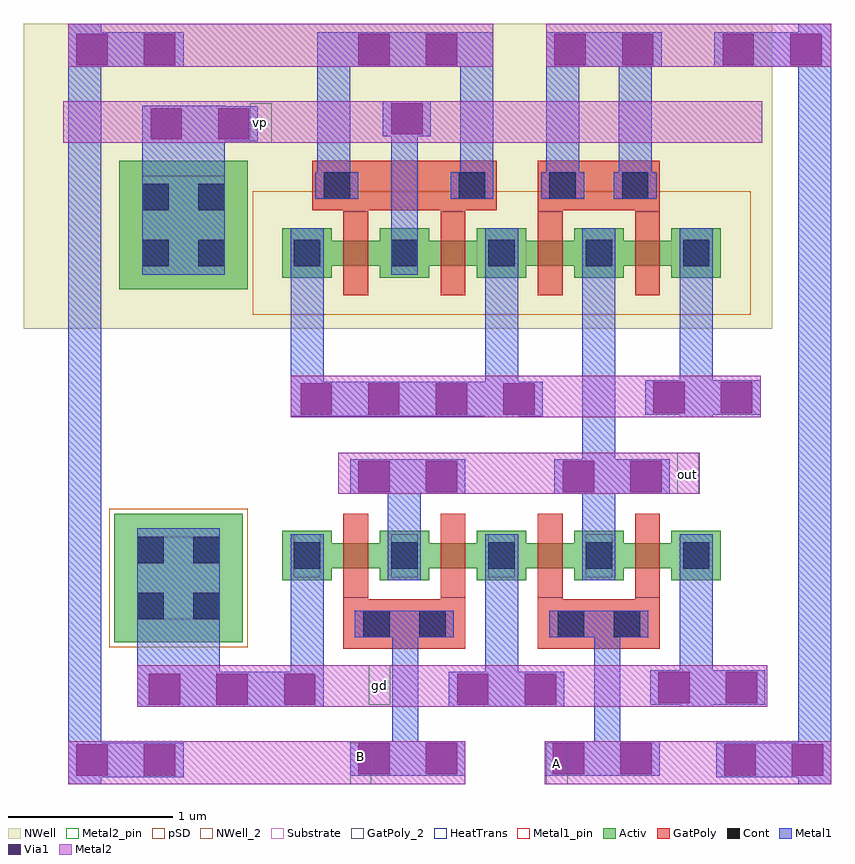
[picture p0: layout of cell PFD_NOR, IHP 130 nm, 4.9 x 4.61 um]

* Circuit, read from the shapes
.subckt PFD_NOR A B gd out vp
XM1 out B gd gd sg13_lv_nmos w=0.15u l=0.15u m=2
XM2 out A gd gd sg13_lv_nmos w=0.15u l=0.15u m=2
XM3 vp B n1 vp sg13_lv_pmos w=0.15u l=0.15u m=2
XM4 out A n1 vp sg13_lv_pmos w=0.15u l=0.15u m=2
.ends

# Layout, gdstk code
import gdstk
lib = gdstk.Library(unit=1e-6, precision=1e-09)
def R(c, l, rs):  # rectangles x0, y0, x1, y1
    for r in rs: c.add(gdstk.rectangle(r[:2], r[2:], *l))
def A(c, l, x, y, w, h, nx, ny, dx, dy):  # array of equal rectangles
    R(c, l, [(x+i*dx, y+j*dy, x+i*dx+w, y+j*dy+h) for i in range(nx) for j in range(ny)])
Activ = (1, 0)
GatPoly = (5, 0)
GatPoly_2 = (5, 2)
Cont = (6, 0)
Metal1 = (8, 0)
Metal1_pin = (8, 2)
Metal2 = (10, 0)
Metal2_pin = (10, 2)
pSD = (14, 0)
Via1 = (19, 0)
NWell = (31, 0)
NWell_2 = (31, 2)
Substrate = (40, 0)
HeatTrans = (51, 0)

pmos = lib.new_cell('pmos')
A(pmos, Activ, 0, 0, 0.3, 0.3, 3, 1, 0.59, 0)
R(pmos, Activ, [(0,0.075,1.48,0.225)])
R(pmos, GatPoly, [(0.37,-0.105,0.52,0.405), (0.37,-0.105,0.52,0.405), (0.96,-0.105,1.11,0.405)])
A(pmos, Cont, 0.07, 0.07, 0.16, 0.16, 3, 1, 0.59, 0)
R(pmos, Metal1, [(0.07,0.02,0.23,0.28), (0.07,0.02,0.23,0.28), (0.66,0.02,0.82,0.28), (0.66,0.02,0.82,0.28), (1.25,0.02,1.41,0.28)])
R(pmos, pSD, [(-0.18,-0.225,1.66,0.525)])
R(pmos, NWell, [(-0.31,-0.31,1.79,0.61)])
R(pmos, Substrate, [(1.18,0,1.48,0.3)])
R(pmos, HeatTrans, [(0.37,-0.105,0.52,0.405), (0.96,-0.105,1.11,0.405)])
pmos.add(gdstk.Label('pmos', (0.445,0.15), layer=63, texttype=0))
pmos.add(gdstk.Label('pmos', (0.445,0.15), layer=51, texttype=0))
pmos.add(gdstk.Label('pmos', (1.035,0.15), layer=51, texttype=0))

nmos = lib.new_cell('nmos')
A(nmos, Activ, 0, 0, 0.3, 0.3, 3, 1, 0.59, 0)
R(nmos, Activ, [(0,0.075,1.48,0.225)])
R(nmos, GatPoly, [(0.37,-0.105,0.52,0.405), (0.96,-0.105,1.11,0.405)])
R(nmos, GatPoly_2, [(0.37,-0.105,0.52,0.405)])
A(nmos, Cont, 0.07, 0.07, 0.16, 0.16, 3, 1, 0.59, 0)
A(nmos, Metal1, 0.07, 0.02, 0.16, 0.26, 3, 1, 0.59, 0)
R(nmos, Metal1_pin, [(0.07,0.02,0.23,0.28), (0.66,0.02,0.82,0.28)])
R(nmos, HeatTrans, [(0.37,-0.105,0.52,0.405), (0.96,-0.105,1.11,0.405)])
nmos.add(gdstk.Label('nmos', (0.445,0.15), layer=63, texttype=0))
nmos.add(gdstk.Label('nmos', (0.445,0.15), layer=51, texttype=0))
nmos.add(gdstk.Label('nmos', (1.035,0.15), layer=51, texttype=0))

via = lib.new_cell('Via')
R(via, Metal1, [(-0.35,-0.105,0.35,0.105)])
R(via, Metal2, [(-0.35,-0.1,0.35,0.1)])
R(via, Via1, [(-0.3,-0.095,-0.11,0.095), (0.11,-0.095,0.3,0.095)])

via_5 = lib.new_cell('Via$5')
R(via_5, Metal1, [(-0.76,-0.105,0.76,0.105)])
R(via_5, Metal2, [(-0.76,-0.1,0.76,0.1)])
A(via_5, Via1, -0.71, -0.095, 0.19, 0.19, 4, 1, 0.41, 0)

via_6 = lib.new_cell('Via$6')
R(via_6, Metal1, [(-0.555,-0.105,0.555,0.105)])
R(via_6, Metal2, [(-0.555,-0.1,0.555,0.1)])
A(via_6, Via1, -0.505, -0.095, 0.19, 0.19, 3, 1, 0.41, 0)

via_2 = lib.new_cell('Via$2')
R(via_2, GatPoly, [(-0.15,-0.15,0.15,0.15)])
R(via_2, Cont, [(-0.08,-0.08,0.08,0.08)])
R(via_2, Metal1, [(-0.13,-0.08,0.13,0.08)])

ntap1 = lib.new_cell('ntap1')
R(ntap1, Activ, [(0,0,0.78,0.78)])
R(ntap1, Cont, [(0.14,0.14,0.3,0.3), (0.48,0.14,0.64,0.3), (0.14,0.48,0.3,0.64), (0.48,0.48,0.64,0.64)])
R(ntap1, Metal1, [(0.14,0.09,0.64,0.69)])
R(ntap1, Metal1_pin, [(0.14,0.09,0.64,0.69), (0.14,0.14,0.64,0.64)])
R(ntap1, NWell, [(-0.24,-0.24,1.02,1.02), (0,0,0.78,0.78)])
R(ntap1, NWell_2, [(0,0,0.78,0.78)])
ntap1.add(gdstk.Label('well', (0.39,0.01), layer=63, texttype=0))
ntap1.add(gdstk.Label('well', (0.39,0.01), layer=31, texttype=0))

ptap1 = lib.new_cell('ptap1')
R(ptap1, Activ, [(0,0,0.78,0.78)])
R(ptap1, Cont, [(0.14,0.14,0.3,0.3), (0.48,0.14,0.64,0.3), (0.14,0.48,0.3,0.64), (0.48,0.48,0.64,0.64)])
R(ptap1, Metal1, [(0.14,0.09,0.64,0.69), (0.14,0.14,0.64,0.64)])
R(ptap1, Metal1_pin, [(0.14,0.14,0.64,0.64)])
R(ptap1, pSD, [(-0.03,-0.03,0.81,0.81)])
R(ptap1, Substrate, [(0,0,0.78,0.78)])
ptap1.add(gdstk.Label('sub!', (0.39,0.01), layer=63, texttype=0))
ptap1.add(gdstk.Label('sub!', (0.39,0.01), layer=40, texttype=0))

via_3 = lib.new_cell('Via$3')
R(via_3, GatPoly, [(-0.32,-0.15,0.32,0.15)])
R(via_3, Cont, [(-0.25,-0.08,-0.09,0.08), (0.09,-0.08,0.25,0.08)])
R(via_3, Metal1, [(-0.3,-0.08,0.3,0.08)])

via_4 = lib.new_cell('Via$4')
R(via_4, Metal1, [(-0.145,-0.105,0.145,0.105)])
R(via_4, Metal2, [(-0.145,-0.1,0.145,0.1)])
R(via_4, Via1, [(-0.095,-0.095,0.095,0.095)])

pfd_nor = lib.new_cell('PFD_NOR')
A(pfd_nor, GatPoly, -0.11, -1.02, 0.15, 0.01, 4, 1, 0.59, 0)
R(pfd_nor, GatPoly, [(-0.11,-1.32,0.63,-1.02), (1.07,-1.32,1.81,-1.02), (1.07,1.33,1.22,1.34), (1.66,1.33,1.81,1.34), (-0.11,1.335,0.04,1.34), (0.48,1.335,0.63,1.35), (-0.26,1.34,0.78,1.64), (1.07,1.34,1.81,1.64)])
R(pfd_nor, Metal1, [(-1.36,-1.67,-0.86,-1.42), (-1.36,-1.42,-0.86,-0.995), (0.18,0.95,0.34,1.635), (-1.33,1.55,-0.83,1.975), (0.18,1.635,0.34,1.995), (-0.27,2.235,0.8,2.42)])
R(pfd_nor, Metal2, [(-1.78,-2.14,-1.74,-1.88), (-1.74,-2.14,-0.99,-1.88), (-0.99,-2.14,-0.07,-1.88), (-0.07,-2.14,0.63,-1.885), (1.11,-2.14,1.81,-1.885), (-1.36,-1.67,-0.69,-1.42), (-0.69,-1.67,-0.5,-1.42), (2.31,-1.67,2.43,-1.42), (2.43,-1.67,2.46,-1.42), (-0.09,-1.59,0.12,-1.545), (2.13,0.085,2.36,0.335), (2.36,0.085,2.42,0.335), (-0.69,1.75,-0.5,2), (2.31,1.75,2.43,2), (-1.78,2.21,-1.74,2.47), (-1.74,2.21,-0.99,2.47), (-0.99,2.21,-0.27,2.47), (-0.27,2.21,0.8,2.42), (-0.27,2.21,0.8,2.47), (1.12,2.21,1.82,2.47)])
R(pfd_nor, Metal2_pin, [(-0.07,-2.14,0.06,-1.89), (1.12,-2.14,1.25,-1.89), (0.045,-1.66,0.175,-1.42), (1.915,-0.38,2.045,-0.13), (-0.675,1.75,-0.545,1.99)])
R(pfd_nor, NWell, [(-2.05,0.62,2.49,2.47)])
pfd_nor.add(gdstk.FlexPath([(1.49,-1.09),(1.49,-1.9)], 0.16, ends="flush", simple_path=True, layer=8, datatype=0))  # Metal1
pfd_nor.add(gdstk.FlexPath([(0.265,-1.09),(0.265,-1.89)], 0.16, ends="flush", simple_path=True, layer=8, datatype=0))  # Metal1
pfd_nor.add(gdstk.FlexPath([(1.22,1.41),(1.22,2.235)], 0.2, ends="flush", simple_path=True, layer=8, datatype=0))  # Metal1
pfd_nor.add(gdstk.FlexPath([(0.7,1.42),(0.7,2.245)], 0.2, ends="flush", simple_path=True, layer=8, datatype=0))  # Metal1
pfd_nor.add(gdstk.FlexPath([(-0.17,1.45),(-0.17,2.275)], 0.2, ends="flush", simple_path=True, layer=8, datatype=0))  # Metal1
pfd_nor.add(gdstk.FlexPath([(2.75,-2.14),(2.75,2.47)], 0.2, ends="flush", simple_path=True, layer=8, datatype=0))  # Metal1
pfd_nor.add(gdstk.FlexPath([(-1.68,-2.14),(-1.68,2.47)], 0.2, ends="flush", simple_path=True, layer=8, datatype=0))  # Metal1
pfd_nor.add(gdstk.FlexPath([(-0.33,-0.625),(-0.33,-1.67),(-0.33,-1.67)], 0.2, ends="flush", simple_path=True, layer=8, datatype=0))  # Metal1
pfd_nor.add(gdstk.FlexPath([(0.85,-0.625),(0.85,-1.67)], 0.2, ends="flush", simple_path=True, layer=8, datatype=0))  # Metal1
pfd_nor.add(gdstk.FlexPath([(0.26,-0.905),(0.26,-0.38)], 0.2, ends="flush", simple_path=True, layer=8, datatype=0))  # Metal1
pfd_nor.add(gdstk.FlexPath([(1.44,-0.905),(1.44,-0.38)], 0.2, ends="flush", simple_path=True, layer=8, datatype=0))  # Metal1
pfd_nor.add(gdstk.FlexPath([(-0.33,1.23),(-0.33,0.09),(-0.33,0.09)], 0.2, ends="flush", simple_path=True, layer=8, datatype=0))  # Metal1
pfd_nor.add(gdstk.FlexPath([(0.85,1.23),(0.85,0.085)], 0.2, ends="flush", simple_path=True, layer=8, datatype=0))  # Metal1
pfd_nor.add(gdstk.FlexPath([(2.03,1.23),(2.03,0.085)], 0.2, ends="flush", simple_path=True, layer=8, datatype=0))  # Metal1
pfd_nor.add(gdstk.FlexPath([(1.44,1.23),(1.44,-0.38)], 0.2, ends="flush", simple_path=True, layer=8, datatype=0))  # Metal1
pfd_nor.add(gdstk.FlexPath([(2.03,-0.625),(2.03,-1.67)], 0.2, ends="flush", simple_path=True, layer=8, datatype=0))  # Metal1
pfd_nor.add(gdstk.FlexPath([(1.22,1.41),(1.22,2.235)], 0.2, ends="flush", simple_path=True, layer=8, datatype=0))  # Metal1
pfd_nor.add(gdstk.FlexPath([(1.66,1.41),(1.66,2.235)], 0.2, ends="flush", simple_path=True, layer=8, datatype=0))  # Metal1
pfd_nor.add(gdstk.FlexPath([(-0.17,1.41),(-0.17,2.235)], 0.2, ends="flush", simple_path=True, layer=8, datatype=0))  # Metal1
pfd_nor.add(gdstk.FlexPath([(-0.17,1.41),(-0.17,2.235)], 0.2, ends="flush", simple_path=True, layer=8, datatype=0))  # Metal1
pfd_nor.add(gdstk.FlexPath([(-0.45,1.875),(-1.81,1.875)], 0.25, ends="flush", simple_path=True, layer=10, datatype=0))  # Metal2
pfd_nor.add(gdstk.FlexPath([(1.11,-2.01),(2.76,-2.01)], 0.26, ends="flush", simple_path=True, layer=10, datatype=0))  # Metal2
pfd_nor.add(gdstk.FlexPath([(2.76,-2.01),(2.85,-2.01)], 0.26, ends="flush", simple_path=True, layer=10, datatype=0))  # Metal2
pfd_nor.add(gdstk.FlexPath([(1.12,2.34),(2.85,2.34)], 0.26, ends="flush", simple_path=True, layer=10, datatype=0))  # Metal2
pfd_nor.add(gdstk.FlexPath([(-0.16,-2.01),(0.63,-2.01)], 0.26, ends="flush", simple_path=True, layer=10, datatype=0))  # Metal2
pfd_nor.add(gdstk.FlexPath([(-0.14,0.21),(2.05,0.21)], 0.25, ends="flush", simple_path=True, layer=10, datatype=0))  # Metal2
pfd_nor.add(gdstk.FlexPath([(-0.14,0.21),(-0.43,0.21)], 0.25, ends="flush", simple_path=True, layer=10, datatype=0))  # Metal2
pfd_nor.add(gdstk.FlexPath([(2.05,0.21),(2.13,0.21)], 0.25, ends="flush", simple_path=True, layer=10, datatype=0))  # Metal2
pfd_nor.add(gdstk.FlexPath([(-0.14,-0.255),(2.05,-0.255)], 0.25, ends="flush", simple_path=True, layer=10, datatype=0))  # Metal2
pfd_nor.add(gdstk.FlexPath([(-0.5,-1.545),(2.31,-1.545)], 0.25, ends="flush", simple_path=True, layer=10, datatype=0))  # Metal2
pfd_nor.add(gdstk.FlexPath([(-0.5,1.875),(2.31,1.875)], 0.25, ends="flush", simple_path=True, layer=10, datatype=0))  # Metal2
pfd_nor.add(gdstk.Reference(pmos, (-0.48,0.93)))
pfd_nor.add(gdstk.Reference(pmos, (0.7,0.93)))
pfd_nor.add(gdstk.Reference(nmos, (-0.48,-0.905)))
pfd_nor.add(gdstk.Reference(nmos, (0.7,-0.905)))
pfd_nor.add(gdstk.Reference(via, (1.52,-0.275)))
pfd_nor.add(gdstk.Reference(via, (0.28,-0.275)))
pfd_nor.add(gdstk.Reference(via_5, (0.34,0.195)))
pfd_nor.add(gdstk.Reference(via, (2.07,0.205)))
pfd_nor.add(gdstk.Reference(via, (2.1,-1.555)))
pfd_nor.add(gdstk.Reference(via_6, (-0.785,-1.565)))
pfd_nor.add(gdstk.Reference(via, (0.28,-1.985)))
pfd_nor.add(gdstk.Reference(via_2, (0.67,1.49)))
pfd_nor.add(gdstk.Reference(via_2, (1.22,1.49)))
pfd_nor.add(gdstk.Reference(via_2, (1.66,1.49)))
pfd_nor.add(gdstk.Reference(via_2, (-0.15,1.49)))
pfd_nor.add(gdstk.Reference(via, (1.47,2.315)))
pfd_nor.add(gdstk.Reference(via, (0.28,2.315)))
pfd_nor.add(gdstk.Reference(ntap1, (-1.47,0.86)))
pfd_nor.add(gdstk.Reference(ptap1, (-1.5,-1.28)))
pfd_nor.add(gdstk.Reference(via, (-0.98,1.865)))
pfd_nor.add(gdstk.Reference(via_3, (1.44,-1.17)))
pfd_nor.add(gdstk.Reference(via_3, (0.26,-1.17)))
pfd_nor.add(gdstk.Reference(via_4, (0.275,1.895)))
pfd_nor.add(gdstk.Reference(via, (0.88,-1.565)))
pfd_nor.add(gdstk.Reference(via, (1.46,-1.985)))
pfd_nor.add(gdstk.Reference(via, (2.5,-1.995)))
pfd_nor.add(gdstk.Reference(via, (2.49,2.315)))
pfd_nor.add(gdstk.Reference(via, (-1.43,-1.995)))
pfd_nor.add(gdstk.Reference(via, (-1.43,2.315)))
pfd_nor.add(gdstk.Label('out', (1.98,-0.26), layer=10, texttype=25))
pfd_nor.add(gdstk.Label('A', (1.185,-2.015), layer=10, texttype=25))
pfd_nor.add(gdstk.Label('B', (-0.005,-1.975), layer=10, texttype=25))
pfd_nor.add(gdstk.Label('gd', (0.11,-1.54), layer=10, texttype=25))
pfd_nor.add(gdstk.Label('vp', (-0.61,1.87), layer=10, texttype=25))

lib.write_gds('PFD_NOR.gds')
